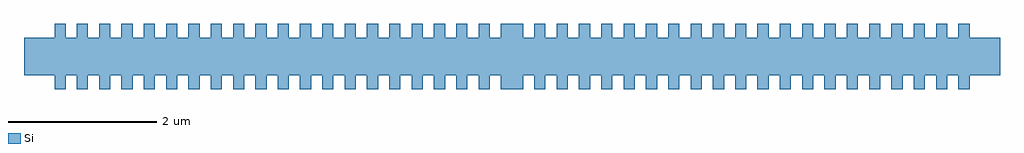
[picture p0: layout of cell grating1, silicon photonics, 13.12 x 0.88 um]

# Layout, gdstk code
import gdstk
lib = gdstk.Library(unit=1e-6, precision=1e-09)
def R(c, l, rs):  # rectangles x0, y0, x1, y1
    for r in rs: c.add(gdstk.rectangle(r[:2], r[2:], *l))
def A(c, l, x, y, w, h, nx, ny, dx, dy):  # array of equal rectangles
    R(c, l, [(x+i*dx, y+j*dy, x+i*dx+w, y+j*dy+h) for i in range(nx) for j in range(ny)])
Si = (1, 0)

grating1 = lib.new_cell('grating1')
A(grating1, Si, 0.41, -0.88, 0.15, 0.19, 20, 2, 0.3, 0.69)
A(grating1, Si, 6.86, -0.88, 0.15, 0.19, 20, 2, 0.3, 0.69)
R(grating1, Si, [(6.41,-0.88,6.71,-0.69), (0,-0.69,13.12,-0.19), (6.41,-0.19,6.71,0)])

lib.write_gds('grating1.gds')
